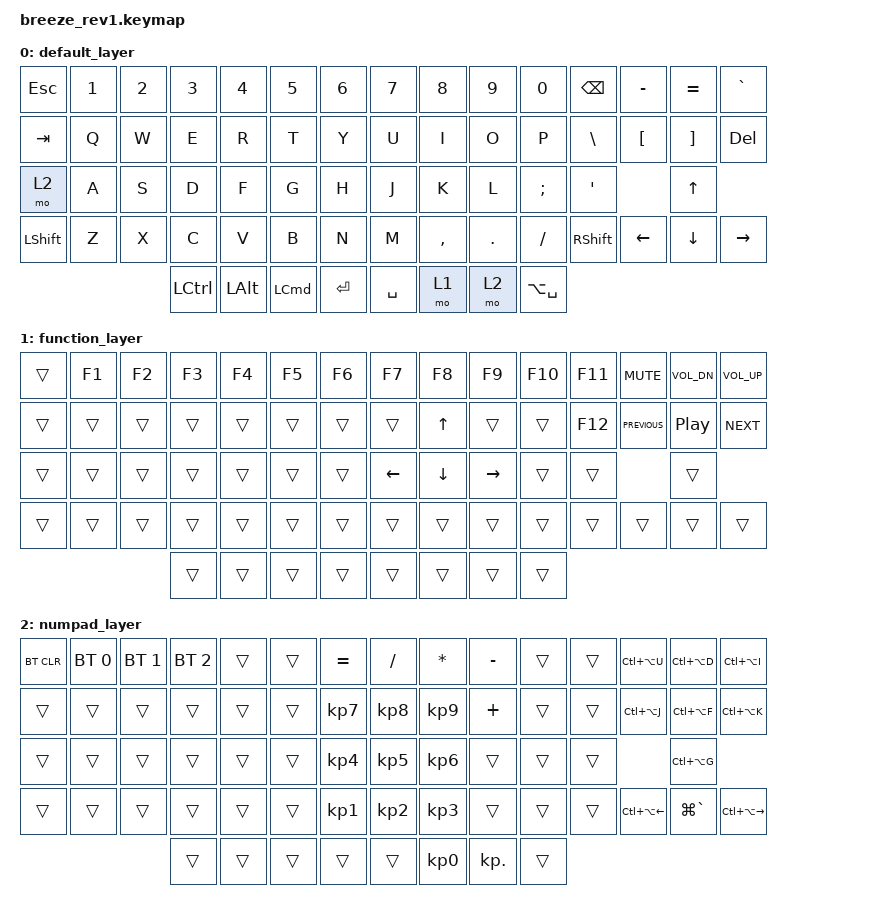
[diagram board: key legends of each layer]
/*
 * Copyright (c) 2022 The ZMK Contributors
 *
 * SPDX-License-Identifier: MIT
 */

#include <behaviors.dtsi>
#include <dt-bindings/zmk/keys.h>
#include <dt-bindings/zmk/bt.h>
#include <dt-bindings/zmk/ext_power.h>

/ {
	keymap {
		compatible = "zmk,keymap";

		default_layer {

// Ref: https://zmkfirmware.dev/docs/codes/

// ---  MAIN  -----------------------------------------------------------------------------------------------------------------------
// |    ESC    |     1     |     2     |     3      |      4      |      5     |                           |      6      |      7     |      8      |      9     |     0    |    BSPC    | |    -/_        |     =/+        |    GRAVE    |
// |    TAB    |     Q     |     W     |     E      |      R      |      T     |                           |      Y      |      U     |      I      |      O     |     P    |    BSLH    | |     [         |      ]         |    DEL      |
// |   MO 2    |     A     |     S     |     D      |      F      |      G     |                           |      H      |      J     |      K      |      L     |     ;    |     '      | |               |      UP        |             |
// |   SHIFT   |     Z     |     X     |     C      |      V      |      B     |                           |      N      |      M     |      ,      |      .     |     /    |   RSHIFT   | |     L         |      DN        |      R      |
//                                     |   LCTRL    |     LALT    |    LCMD    |   ENTER    |  |   SPACE   |   MOM 1     |  MOM 2     |  FUNCTION   |
			bindings = <
    &kp ESC    &kp N1      &kp N2      &kp N3       &kp N4        &kp N5                                   &kp N6         &kp N7      &kp N8        &kp N9       &kp N0      &kp BSPC      &kp MINUS        &kp EQUAL       &kp GRAVE
    &kp TAB    &kp Q       &kp W       &kp E        &kp R         &kp T                                    &kp Y          &kp U       &kp I         &kp O        &kp P       &kp BSLH       &kp LBKT        &kp RBKT        &kp DEL
    &mo 2      &kp A       &kp S       &kp D        &kp F         &kp G                                    &kp H          &kp J       &kp K         &kp L        &kp SEMI    &kp APOS                       &kp UP 
    &kp LSHFT  &kp Z       &kp X       &kp C        &kp V         &kp B                                    &kp N          &kp M       &kp COMMA     &kp DOT      &kp FSLH    &kp RSHIFT            &kp LEFT &kp DOWN        &kp RIGHT
                                       &kp LCTRL    &kp LALT      &kp LCMD     &kp RET         &kp SPACE   &mo 1          &mo 2       &kp LA(SPACE)
			>;
		};

		function_layer {
// ---  FUNCTION  -------------------------------------------------------------------------------------------------------------------
// |           |     F1    |     F2    |     F3     |     F4      |     F5     |                           |      F6     |     F7     |     F8      |     F9     |    F10   |     F11    | |     MUTE   |  VOL DOWN  |   VOL UP    |
// |           |           |           |            |             |            |                           |             |            |     UP      |            |          |     F12    | |  PREVIOUS  | PLAY/PAUSE |    NEXT     |
// |           |           |           |            |             |            |                           |             |    LEFT    |    DOWN     |   RIGHT    |          |            | |            |            |             |
// |           |           |           |            |             |            |                           |             |            |             |            |          |            | |            |            |             |
//                                     |            |             |            |            |  |           |             |            |             |
			bindings = <
    &trans     &kp F1      &kp F2      &kp F3       &kp F4        &kp F5                                   &kp F6        &kp F7       &kp F8        &kp F9        &kp F10    &kp F11        &kp C_MUTE      &kp C_VOL_DN      &kp C_VOL_UP
    &trans     &trans      &trans      &trans       &trans        &trans                                   &trans        &trans       &kp UP        &trans        &trans     &kp F12        &kp C_PREVIOUS  &kp C_PLAY_PAUSE  &kp C_NEXT
    &trans     &trans      &trans      &trans       &trans        &trans                                   &trans        &kp LEFT     &kp DOWN      &kp RIGHT     &trans     &trans                    &trans              
    &trans     &trans      &trans      &trans       &trans        &trans                                   &trans        &trans       &trans        &trans        &trans     &trans        &trans      &trans        &trans
                                       &trans       &trans        &trans        &trans          &trans     &trans        &trans       &trans
			>;
		};

		numpad_layer { 
// ---  NUMPAD  -------------------------------------------------------------------------------------------------------------------                                                             ------          MAGENT SCREEN MACROS    -------
// |  BT_CLEAR |    BT_0   |    BT_1   |    BT_2    |             |            |                           |       =       |      /       |      *       |      -     |          |            | |  1/4 TOP-LEFT  |   1/3 LEFT    | 1/4 TOP-RIGHT |
// |           |           |           |            |             |            |                           |       7       |      8       |      9       |      +     |          |            | |  1/4 LOW-LEFT  |   1/3 CENT    | 1/4 LOW-RIGHT |
// |           |           |           |            |             |            |                           |       4       |      5       |      6       |            |          |            | |                |   1/3 RIGHT   |               |
// |           |           |           |            |             |            |                           |       1       |      2       |      3       |            |          |            | |   1/2 LEFT     |     FULL      |   1/2 RIGHT   |
//                                     |            |             |            |            |  |           |       0       |      .       |              |
			bindings = <
    &bt BT_CLR &bt BT_SEL 0 &bt BT_SEL 1 &bt BT_SEL 2 &trans        &trans                                   &kp EQUAL       &kp SLASH       &kp STAR        &kp MINUS     &trans     &trans       &kp LC(LA(U))    &kp LC(LA(D))   &kp LC(LA(I))
    &trans     &trans       &trans      &trans        &trans        &trans                                   &kp KP_NUMBER_7 &kp KP_NUMBER_8 &kp KP_NUMBER_9 &kp PLUS      &trans     &trans       &kp LC(LA(J))    &kp LC(LA(F))   &kp LC(LA(K))
    &trans     &trans       &trans      &trans        &trans        &trans                                   &kp KP_NUMBER_4 &kp KP_NUMBER_5 &kp KP_NUMBER_6 &trans        &trans     &trans                        &kp LC(LA(G))              
    &trans     &trans       &trans      &trans        &trans        &trans                                   &kp KP_NUMBER_1 &kp KP_NUMBER_2 &kp KP_NUMBER_3 &trans        &trans     &trans       &kp LC(LA(LEFT)) &kp LG(GRAVE)   &kp LC(LA(RIGHT))
                                        &trans        &trans        &trans        &trans          &trans     &kp KP_NUMBER_0 &kp KP_DOT      &trans
			>;
		};
	};
};
